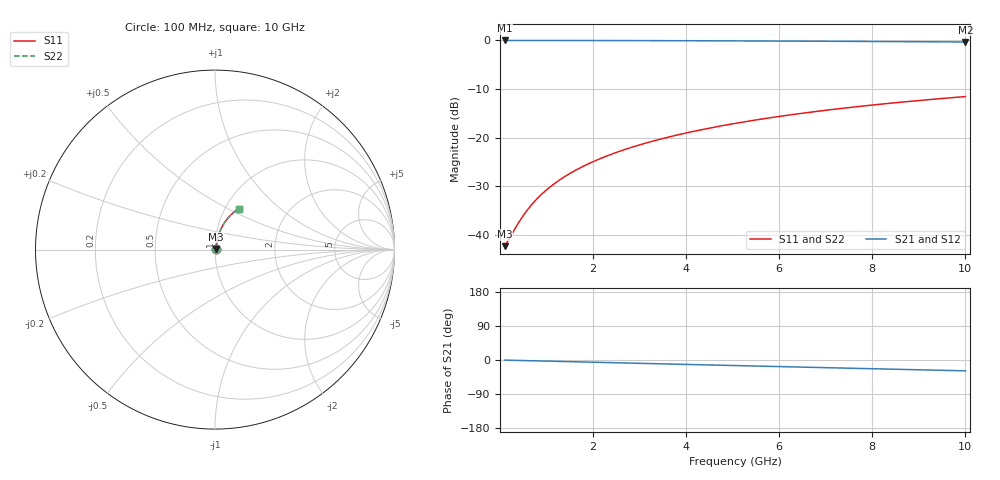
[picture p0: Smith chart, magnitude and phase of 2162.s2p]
# Hz S RI R 50.00
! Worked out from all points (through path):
!   100 points, 100 MHz to 10 GHz, reference 50 ohm
!   highest |S21| = -0.06 dB at 100 MHz (marker M1); lowest = -0.4 dB at 10 GHz (marker M2)
!   group delay of S21, straight-line fit = 7.95 ps
!   lowest |S11| = -42.3 dB at 100 MHz (marker M3), VSWR 1.02, Z = 50.7 + j0.282 ohm
!   |S11| at or under -10 dB: start of sweep to end of sweep
!   |S22| runs from -42.3 to -11.6 dB; largest |S21 - S12| = 0
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1e8  0.00716 0.00278  0.9928 -0.00506  0.9928 -0.00506  0.00716 0.00278
2e8  0.00725 0.00555  0.9927 -0.0101  0.9927 -0.0101  0.00725 0.00555
4e8  0.00748 0.0111  0.9925 -0.0202  0.9925 -0.0202  0.00748 0.0111
5e8  0.00764 0.0139  0.9923 -0.0253  0.9923 -0.0253  0.00764 0.0139
6e8  0.00781 0.0166  0.9921 -0.0304  0.9921 -0.0304  0.00781 0.0166
7e8  0.00801 0.0194  0.9918 -0.0354  0.9918 -0.0354  0.00801 0.0194
8e8  0.00824 0.0222  0.9916 -0.0405  0.9916 -0.0405  0.00824 0.0222
1e9  0.00878 0.0277  0.9909 -0.0506  0.9909 -0.0506  0.00878 0.0277
1.2e9  0.00943 0.0332  0.9902 -0.0606  0.9902 -0.0606  0.00943 0.0332
1.5e9  0.0106 0.0414  0.9888 -0.0757  0.9888 -0.0757  0.0106 0.0414
1.8e9  0.012 0.0496  0.9871 -0.0908  0.9871 -0.0908  0.012 0.0496
2.1e9  0.0137 0.0577  0.9851 -0.1058  0.9851 -0.1058  0.0137 0.0577
2.5e9  0.0163 0.0685  0.982 -0.1257  0.982 -0.1257  0.0163 0.0685
2.9e9  0.0193 0.0791  0.9784 -0.1454  0.9784 -0.1454  0.0193 0.0791
3.4e9  0.0237 0.0921  0.9732 -0.1699  0.9732 -0.1699  0.0237 0.0921
4.2e9  0.032 0.1124  0.9632 -0.2086  0.9632 -0.2086  0.032 0.1124
5.1e9  0.0433 0.1343  0.9498 -0.2511  0.9498 -0.2511  0.0433 0.1343
5.9e9  0.0548 0.1526  0.9359 -0.2878  0.9359 -0.2878  0.0548 0.1526
6.7e9  0.0677 0.1699  0.9203 -0.3235  0.9203 -0.3235  0.0677 0.1699
7.5e9  0.0818 0.186  0.9031 -0.3581  0.9031 -0.3581  0.0818 0.186
8.4e9  0.099 0.2026  0.882 -0.3954  0.882 -0.3954  0.099 0.2026
1e10  0.1324 0.2278  0.8406 -0.4576  0.8406 -0.4576  0.1324 0.2278
